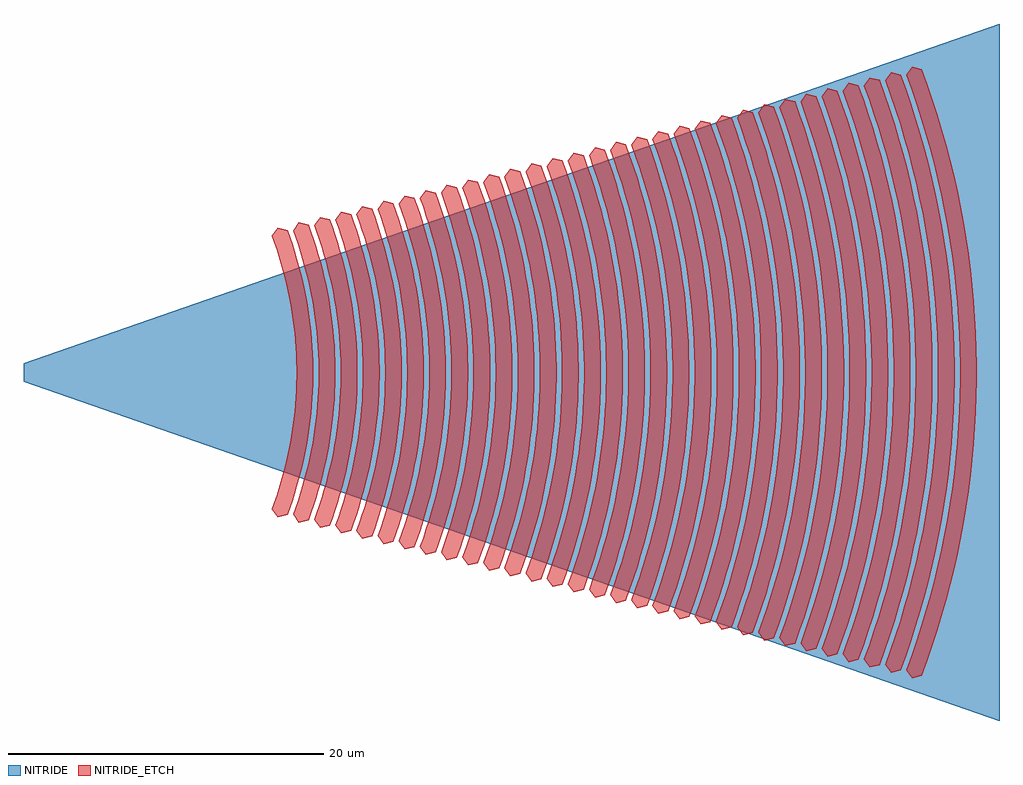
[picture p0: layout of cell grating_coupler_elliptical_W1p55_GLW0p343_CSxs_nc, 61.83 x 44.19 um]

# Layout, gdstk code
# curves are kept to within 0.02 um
import gdstk
lib = gdstk.Library(unit=1e-6, precision=1e-09)
def P(c, l, *ps):  # polygons
    for p in ps: c.add(gdstk.Polygon(p, *l))
NITRIDE = (203, 0)
NITRIDE_ETCH = (204, 0)

grating_coupler_elliptic = lib.new_cell('grating_coupler_elliptical_W1p55_GLW0p343_CSxs_nc')
P(grating_coupler_elliptic, NITRIDE, [(80.427,-22.097),(18.597,-0.6),(18.597,0.6),(80.427,22.097)])
P(grating_coupler_elliptic, NITRIDE_ETCH, [(34.709,-9.167),(34.332,-8.655),(34.635,-7.793),(35.029,-6.488),(35.441,-4.722),(35.664,-3.382),(35.772,-2.484),(35.871,-1.131),(35.896,-0.226),(35.871,1.131),(35.813,2.033),(35.664,3.382),(35.523,4.276),(35.35,5.166),(35.029,6.488),(34.635,7.793),(34.332,8.655),(34.709,9.167),(35.326,9.015),(35.784,7.674),(36.17,6.309),(36.479,4.924),(36.712,3.528),(36.902,1.65),(36.954,0.236),(36.927,-1.179),(36.824,-2.59),(36.643,-3.994),(36.281,-5.849),(35.921,-7.221),(35.326,-9.015)],
  [(36.048,-9.506),(35.671,-8.994),(35.987,-8.099),(36.396,-6.743),(36.824,-4.908),(37.056,-3.515),(37.168,-2.581),(37.271,-1.175),(37.297,-0.235),(37.271,1.175),(37.211,2.113),(37.056,3.515),(36.909,4.445),(36.627,5.829),(36.396,6.743),(35.987,8.099),(35.671,8.994),(36.048,9.506),(36.665,9.356),(37.141,7.963),(37.541,6.546),(37.862,5.11),(38.104,3.661),(38.301,1.712),(38.355,0.245),(38.327,-1.223),(38.22,-2.687),(38.032,-4.146),(37.657,-6.069),(37.283,-7.493),(36.665,-9.356)],
  [(37.388,-9.847),(37.01,-9.335),(37.488,-7.939),(37.763,-6.998),(38.207,-5.093),(38.376,-4.131),(38.564,-2.678),(38.671,-1.219),(38.698,-0.244),(38.689,0.731),(38.609,2.192),(38.51,3.164),(38.296,4.613),(38.109,5.572),(37.763,6.998),(37.488,7.939),(37.01,9.335),(37.388,9.847),(38.006,9.695),(38.498,8.253),(38.912,6.783),(39.245,5.295),(39.495,3.793),(39.663,2.28),(39.756,0.254),(39.727,-1.267),(39.616,-2.786),(39.422,-4.295),(39.032,-6.289),(38.498,-8.253),(38.006,-9.695)],
  [(38.728,-10.187),(38.35,-9.676),(38.845,-8.228),(39.13,-7.253),(39.59,-5.279),(39.765,-4.282),(39.96,-2.777),(40.071,-1.264),(40.099,-0.253),(40.071,1.264),(40.006,2.272),(39.904,3.279),(39.682,4.781),(39.378,6.27),(39.13,7.253),(38.845,8.228),(38.35,9.676),(38.728,10.187),(39.346,10.034),(39.855,8.542),(40.284,7.022),(40.628,5.481),(40.887,3.925),(41.099,1.836),(41.157,0.263),(41.127,-1.312),(41.012,-2.883),(40.811,-4.446),(40.408,-6.51),(39.855,-8.542),(39.346,-10.034)],
  [(40.067,-10.525),(39.69,-10.013),(40.041,-9.017),(40.497,-7.508),(40.973,-5.464),(41.231,-3.914),(41.356,-2.873),(41.471,-1.308),(41.5,-0.262),(41.471,1.308),(41.404,2.352),(41.231,3.914),(41.068,4.949),(40.868,5.978),(40.497,7.508),(40.041,9.017),(39.69,10.013),(40.067,10.525),(40.684,10.375),(41.212,8.831),(41.655,7.258),(42.011,5.666),(42.279,4.058),(42.498,1.898),(42.558,0.272),(42.527,-1.356),(42.408,-2.981),(42.2,-4.596),(41.783,-6.73),(41.517,-7.786),(41.212,-8.831),(40.684,-10.375)],
  [(41.407,-10.866),(41.03,-10.354),(41.559,-8.806),(41.863,-7.762),(42.129,-6.71),(42.455,-5.117),(42.693,-3.509),(42.802,-2.432),(42.901,-0.27),(42.891,0.811),(42.802,2.432),(42.693,3.509),(42.455,5.117),(42.129,6.71),(41.863,7.762),(41.559,8.806),(41.03,10.354),(41.407,10.866),(42.024,10.714),(42.569,9.12),(43.159,6.95),(43.497,5.301),(43.743,3.635),(43.897,1.961),(43.959,0.28),(43.949,-0.841),(43.897,-1.961),(43.743,-3.635),(43.497,-5.301),(43.159,-6.95),(42.569,-9.12),(42.024,-10.714)],
  [(42.746,-11.205),(42.369,-10.693),(42.744,-9.629),(43.078,-8.558),(43.505,-6.931),(43.739,-5.836),(44.015,-4.179),(44.148,-3.069),(44.271,-1.397),(44.302,-0.279),(44.271,1.397),(44.199,2.512),(44.087,3.625),(43.841,5.285),(43.505,6.931),(43.229,8.017),(42.916,9.094),(42.369,10.693),(42.746,11.205),(43.363,11.055),(43.748,9.963),(44.094,8.854),(44.535,7.171),(44.883,5.469),(45.137,3.751),(45.296,2.023),(45.36,0.289),(45.349,-0.868),(45.296,-2.023),(45.137,-3.751),(44.883,-5.469),(44.535,-7.171),(44.094,-8.854),(43.748,-9.963),(43.363,-11.055)],
  [(44.086,-11.546),(43.709,-11.034),(44.095,-9.936),(44.44,-8.83),(44.88,-7.151),(45.122,-6.021),(45.407,-4.312),(45.544,-3.167),(45.671,-1.441),(45.703,-0.288),(45.671,1.441),(45.597,2.592),(45.481,3.74),(45.227,5.453),(44.88,7.151),(44.596,8.273),(44.273,9.383),(43.709,11.034),(44.086,11.546),(44.703,11.394),(45.099,10.268),(45.456,9.126),(45.91,7.391),(46.269,5.637),(46.531,3.866),(46.695,2.085),(46.761,0.298),(46.75,-0.894),(46.695,-2.085),(46.531,-3.866),(46.269,-5.637),(45.91,-7.391),(45.456,-9.126),(45.099,-10.268),(44.703,-11.394)],
  [(45.425,-11.886),(45.048,-11.374),(45.447,-10.242),(45.964,-8.527),(46.386,-6.79),(46.614,-5.621),(46.875,-3.855),(46.995,-2.672),(47.071,-1.485),(47.104,-0.297),(47.093,0.891),(46.995,2.672),(46.875,3.855),(46.614,5.621),(46.386,6.79),(45.964,8.527),(45.447,10.242),(45.048,11.374),(45.425,11.886),(46.042,11.734),(46.451,10.574),(46.818,9.398),(47.286,7.611),(47.656,5.805),(47.925,3.981),(48.094,2.147),(48.162,0.307),(48.151,-0.921),(48.094,-2.147),(47.925,-3.981),(47.656,-5.805),(47.286,-7.611),(46.818,-9.398),(46.451,-10.574),(46.042,-11.734)],
  [(46.765,-12.226),(46.388,-11.714),(46.798,-10.548),(47.33,-8.782),(47.631,-7.592),(48,-5.789),(48.19,-4.578),(48.336,-3.362),(48.471,-1.53),(48.505,-0.306),(48.471,1.53),(48.392,2.751),(48.269,3.97),(48,5.789),(47.631,7.592),(47.33,8.782),(46.798,10.548),(46.388,11.714),(46.765,12.226),(47.382,12.074),(47.802,10.88),(48.18,9.67),(48.661,7.832),(49.042,5.973),(49.319,4.096),(49.493,2.209),(49.563,0.316),(49.527,-1.578),(49.388,-3.468),(49.146,-5.348),(48.799,-7.214),(48.512,-8.447),(48.18,-9.67),(47.802,-10.88),(47.382,-12.074)],
  [(48.103,-12.564),(47.727,-12.052),(48.15,-10.854),(48.698,-9.037),(49.007,-7.812),(49.271,-6.578),(49.582,-4.711),(49.732,-3.46),(49.871,-1.575),(49.906,-0.315),(49.871,1.575),(49.79,2.831),(49.663,4.086),(49.386,5.957),(49.145,7.195),(48.698,9.037),(48.15,10.854),(47.727,12.052),(48.103,12.564),(48.721,12.414),(49.154,11.186),(49.542,9.942),(50.037,8.052),(50.428,6.141),(50.713,4.212),(50.892,2.271),(50.964,0.325),(50.927,-1.623),(50.784,-3.566),(50.535,-5.499),(50.179,-7.417),(49.884,-8.684),(49.542,-9.942),(49.154,-11.186),(48.721,-12.414)],
  [(49.444,-12.905),(49.067,-12.393),(49.501,-11.159),(50.064,-9.292),(50.383,-8.032),(50.773,-6.125),(50.974,-4.844),(51.129,-3.557),(51.271,-1.619),(51.306,-0.324),(51.271,1.619),(51.188,2.912),(50.974,4.844),(50.773,6.125),(50.383,8.032),(50.064,9.292),(49.501,11.159),(49.067,12.393),(49.444,12.905),(50.061,12.753),(50.505,11.493),(50.904,10.214),(51.413,8.272),(51.815,6.309),(52.107,4.327),(52.291,2.333),(52.364,0.334),(52.327,-1.667),(52.181,-3.663),(51.925,-5.649),(51.558,-7.619),(51.255,-8.923),(50.904,-10.214),(50.505,-11.493),(50.061,-12.753)],
  [(50.784,-13.245),(50.407,-12.733),(50.852,-11.467),(51.432,-9.547),(51.758,-8.253),(52.038,-6.949),(52.366,-4.977),(52.525,-3.654),(52.671,-1.663),(52.707,-0.333),(52.671,1.663),(52.586,2.992),(52.366,4.977),(52.159,6.293),(51.904,7.601),(51.432,9.547),(50.852,11.467),(50.407,12.733),(50.784,13.245),(51.401,13.093),(51.856,11.799),(52.266,10.486),(52.788,8.493),(53.201,6.477),(53.501,4.442),(53.69,2.396),(53.765,0.343),(53.727,-1.711),(53.577,-3.762),(53.314,-5.8),(52.938,-7.823),(52.627,-9.16),(52.266,-10.486),(51.856,-11.799),(51.401,-13.093)],
  [(52.123,-13.584),(51.746,-13.072),(52.204,-11.773),(52.799,-9.802),(53.134,-8.473),(53.421,-7.134),(53.758,-5.109),(53.921,-3.752),(54.071,-1.708),(54.108,-0.341),(54.071,1.708),(53.983,3.071),(53.846,4.431),(53.545,6.462),(53.134,8.473),(52.799,9.802),(52.204,11.773),(51.746,13.072),(52.123,13.584),(52.74,13.434),(53.208,12.105),(53.628,10.758),(54.164,8.713),(54.587,6.644),(54.896,4.557),(55.089,2.458),(55.166,0.351),(55.127,-1.756),(54.973,-3.858),(54.703,-5.95),(54.317,-8.026),(53.998,-9.397),(53.628,-10.758),(53.208,-12.105),(52.74,-13.434)],
  [(53.463,-13.925),(53.086,-13.413),(53.555,-12.078),(53.974,-10.734),(54.51,-8.693),(54.804,-7.32),(55.149,-5.242),(55.317,-3.85),(55.471,-1.752),(55.509,-0.35),(55.471,1.752),(55.381,3.151),(55.24,4.547),(54.931,6.63),(54.51,8.693),(54.165,10.056),(53.771,11.408),(53.086,13.413),(53.463,13.925),(54.08,13.773),(54.559,12.412),(54.99,11.03),(55.54,8.933),(55.973,6.812),(56.29,4.673),(56.488,2.52),(56.567,0.36),(56.527,-1.8),(56.369,-3.956),(56.092,-6.101),(55.697,-8.229),(55.369,-9.636),(54.99,-11.03),(54.559,-12.412),(54.08,-13.773)],
  [(54.802,-14.263),(54.425,-13.751),(54.907,-12.384),(55.336,-11.006),(55.715,-9.614),(56.187,-7.504),(56.436,-6.087),(56.713,-3.947),(56.871,-1.797),(56.91,-0.359),(56.897,1.078),(56.831,2.514),(56.713,3.947),(56.541,5.375),(56.187,7.504),(55.715,9.614),(55.128,11.697),(54.425,13.751),(54.802,14.263),(55.419,14.113),(55.911,12.718),(56.352,11.302),(56.915,9.154),(57.36,6.981),(57.684,4.788),(57.887,2.582),(57.968,0.369),(57.927,-1.845),(57.765,-4.053),(57.482,-6.251),(57.076,-8.432),(56.741,-9.874),(56.352,-11.302),(55.911,-12.718),(55.419,-14.113)],
  [(56.142,-14.604),(55.765,-14.092),(56.485,-11.986),(56.899,-10.566),(57.261,-9.134),(57.57,-7.691),(57.933,-5.508),(58.109,-4.045),(58.271,-1.841),(58.311,-0.368),(58.298,1.104),(58.23,2.576),(58.109,4.045),(57.933,5.508),(57.57,7.691),(57.086,9.851),(56.485,11.986),(55.765,14.092),(56.142,14.604),(56.759,14.452),(57.495,12.3),(57.919,10.844),(58.291,9.374),(58.746,7.149),(59.078,4.903),(59.286,2.644),(59.369,0.378),(59.327,-1.889),(59.161,-4.151),(58.871,-6.402),(58.456,-8.635),(58.112,-10.111),(57.714,-11.574),(57.262,-13.024),(56.759,-14.452)],
  [(57.481,-14.944),(57.104,-14.432),(57.61,-12.996),(58.266,-10.821),(58.636,-9.354),(58.953,-7.876),(59.325,-5.641),(59.505,-4.143),(59.671,-1.885),(59.712,-0.377),(59.698,1.131),(59.629,2.638),(59.505,4.143),(59.325,5.641),(58.953,7.876),(58.458,10.09),(57.842,12.275),(57.104,14.432),(57.481,14.944),(58.098,14.792),(58.852,12.589),(59.286,11.099),(59.666,9.594),(60.132,7.317),(60.472,5.018),(60.685,2.706),(60.77,0.387),(60.727,-1.933),(60.557,-4.249),(60.26,-6.552),(59.835,-8.838),(59.484,-10.348),(59.076,-11.846),(58.614,-13.33),(58.098,-14.792)],
  [(58.821,-15.284),(58.444,-14.772),(58.961,-13.303),(59.633,-11.076),(60.012,-9.575),(60.336,-8.062),(60.717,-5.774),(60.901,-4.24),(61.071,-1.93),(61.113,-0.386),(61.099,1.158),(61.028,2.7),(60.901,4.24),(60.717,5.774),(60.336,8.062),(59.829,10.326),(59.198,12.565),(58.444,14.772),(58.821,15.284),(59.438,15.132),(59.965,13.635),(60.438,12.118),(61.042,9.815),(61.519,7.485),(61.866,5.134),(62.084,2.768),(62.171,0.396),(62.127,-1.978),(61.953,-4.346),(61.649,-6.703),(61.215,-9.041),(60.855,-10.586),(60.438,-12.118),(59.965,-13.635),(59.438,-15.132)],
  [(60.161,-15.624),(59.783,-15.112),(60.555,-12.854),(61,-11.331),(61.388,-9.795),(61.719,-8.247),(62.109,-5.907),(62.297,-4.338),(62.471,-1.974),(62.514,-0.395),(62.499,1.184),(62.427,2.763),(62.297,4.338),(62.109,5.907),(61.719,8.247),(61.2,10.564),(60.555,12.854),(59.783,15.112),(60.161,15.624),(60.779,15.472),(61.316,13.942),(61.8,12.39),(62.418,10.035),(62.905,7.653),(63.26,5.249),(63.483,2.831),(63.572,0.405),(63.527,-2.022),(63.349,-4.444),(63.039,-6.853),(62.594,-9.244),(62.226,-10.824),(61.8,-12.39),(61.316,-13.942),(60.779,-15.472)],
  [(61.5,-15.964),(61.123,-15.452),(61.664,-13.914),(62.367,-11.586),(62.94,-9.225),(63.382,-6.84),(63.604,-5.238),(63.767,-3.63),(63.871,-2.019),(63.915,-0.404),(63.9,1.211),(63.826,2.825),(63.693,4.435),(63.501,6.04),(63.102,8.433),(62.572,10.803),(61.912,13.143),(61.123,15.452),(61.5,15.964),(62.117,15.812),(62.668,14.248),(63.162,12.662),(63.598,11.061),(63.974,9.447),(64.428,7.004),(64.654,5.364),(64.882,2.893),(64.973,0.414),(64.927,-2.067),(64.745,-4.541),(64.428,-7.004),(63.974,-9.447),(63.598,-11.061),(63.162,-12.662),(62.668,-14.248),(62.117,-15.812)],
  [(62.84,-16.303),(62.463,-15.791),(63.015,-14.222),(63.734,-11.841),(64.319,-9.428),(64.771,-6.99),(64.998,-5.353),(65.165,-3.71),(65.271,-2.063),(65.316,-0.413),(65.271,2.063),(65.165,3.71),(64.998,5.353),(64.771,6.99),(64.319,9.428),(63.734,11.841),(63.015,14.222),(62.463,15.791),(62.84,16.303),(63.457,16.151),(64.019,14.554),(64.524,12.934),(64.969,11.298),(65.353,9.65),(65.817,7.154),(66.141,4.64),(66.281,2.955),(66.374,0.423),(66.327,-2.111),(66.141,-4.64),(65.817,-7.154),(65.353,-9.65),(64.969,-11.298),(64.524,-12.934),(64.019,-14.554),(63.457,-16.151)],
  [(64.179,-16.643),(63.802,-16.131),(64.367,-14.527),(65.101,-12.096),(65.699,-9.631),(66.16,-7.141),(66.393,-5.469),(66.563,-3.79),(66.671,-2.107),(66.717,-0.421),(66.671,2.107),(66.563,3.79),(66.393,5.469),(66.16,7.141),(65.699,9.631),(65.101,12.096),(64.367,14.527),(63.802,16.131),(64.179,16.643),(64.796,16.491),(65.371,14.861),(65.886,13.206),(66.341,11.536),(66.733,9.853),(67.064,8.157),(67.443,5.595),(67.68,3.017),(67.775,0.431),(67.727,-2.155),(67.537,-4.736),(67.206,-7.305),(66.733,-9.853),(66.341,-11.536),(65.886,-13.206),(65.371,-14.861),(64.796,-16.491)],
  [(65.519,-16.983),(65.142,-16.471),(65.983,-14.01),(66.467,-12.35),(67.078,-9.834),(67.55,-7.291),(67.787,-5.584),(67.96,-3.87),(68.071,-2.152),(68.118,-0.43),(68.071,2.152),(67.96,3.87),(67.787,5.584),(67.55,7.291),(67.078,9.834),(66.467,12.35),(65.983,14.01),(65.142,16.471),(65.519,16.983),(66.136,16.831),(66.722,15.167),(67.248,13.478),(67.712,11.775),(68.112,10.056),(68.596,7.455),(68.837,5.71),(69.079,3.079),(69.176,0.44),(69.127,-2.2),(68.933,-4.834),(68.596,-7.455),(68.112,-10.056),(67.712,-11.775),(67.248,-13.478),(66.722,-15.167),(66.136,-16.831)],
  [(66.858,-17.322),(66.481,-16.81),(67.07,-15.14),(67.834,-12.605),(68.458,-10.037),(68.939,-7.441),(69.181,-5.699),(69.358,-3.95),(69.471,-2.196),(69.519,-0.439),(69.471,2.196),(69.358,3.95),(69.181,5.699),(68.939,7.441),(68.458,10.037),(67.834,12.605),(67.07,15.14),(66.481,16.81),(66.858,17.322),(67.475,17.172),(68.074,15.472),(68.61,13.75),(69.083,12.012),(69.492,10.259),(69.837,8.493),(70.231,5.825),(70.478,3.141),(70.577,0.449),(70.527,-2.244),(70.329,-4.932),(69.985,-7.605),(69.492,-10.259),(69.083,-12.012),(68.61,-13.75),(68.074,-15.472),(67.475,-17.172)],
  [(68.198,-17.663),(67.821,-17.151),(68.697,-14.589),(69.201,-12.86),(69.837,-10.24),(70.328,-7.592),(70.575,-5.814),(70.756,-4.03),(70.871,-2.241),(70.92,-0.448),(70.871,2.241),(70.756,4.03),(70.575,5.814),(70.328,7.592),(69.837,10.24),(69.201,12.86),(68.697,14.589),(67.821,17.151),(68.198,17.663),(68.815,17.511),(69.425,15.779),(69.972,14.022),(70.455,12.25),(70.871,10.462),(71.374,7.756),(71.726,5.029),(71.877,3.204),(71.978,0.458),(71.927,-2.289),(71.726,-5.029),(71.374,-7.756),(70.871,-10.462),(70.455,-12.25),(69.972,-14.022),(69.425,-15.779),(68.815,-17.511)],
  [(69.538,-18.002),(69.161,-17.49),(70.054,-14.877),(70.8,-12.228),(71.217,-10.443),(71.717,-7.742),(71.969,-5.93),(72.153,-4.109),(72.271,-2.285),(72.321,-0.457),(72.271,2.285),(72.153,4.109),(71.969,5.93),(71.717,7.742),(71.217,10.443),(70.8,12.228),(70.054,14.877),(69.161,17.49),(69.538,18.002),(70.155,17.85),(70.776,16.085),(71.335,14.295),(71.826,12.488),(72.251,10.665),(72.763,7.906),(73.122,5.127),(73.276,3.266),(73.379,0.467),(73.327,-2.333),(73.122,-5.127),(72.763,-7.906),(72.251,-10.665),(71.826,-12.488),(71.335,-14.295),(70.776,-16.085),(70.155,-17.85)],
  [(70.877,-18.342),(70.5,-17.83),(71.124,-16.058),(71.935,-13.37),(72.596,-10.646),(73.107,-7.893),(73.363,-6.045),(73.551,-4.189),(73.671,-2.329),(73.722,-0.466),(73.671,2.329),(73.551,4.189),(73.363,6.045),(73.107,7.893),(72.596,10.646),(71.935,13.37),(71.124,16.058),(70.5,17.83),(70.877,18.342),(71.494,18.19),(72.128,16.39),(72.697,14.567),(73.198,12.724),(73.63,10.868),(74.153,8.057),(74.518,5.224),(74.675,3.328),(74.78,0.476),(74.727,-2.377),(74.518,-5.224),(74.153,-8.057),(73.63,-10.868),(73.198,-12.724),(72.697,-14.567),(72.128,-16.39),(71.494,-18.19)],
  [(72.217,-18.682),(71.84,-18.17),(72.767,-15.455),(73.543,-12.704),(74.167,-9.917),(74.496,-8.043),(74.757,-6.16),(74.949,-4.269),(75.071,-2.374),(75.123,-0.475),(75.071,2.374),(74.949,4.269),(74.757,6.16),(74.496,8.043),(74.167,9.917),(73.543,12.704),(72.767,15.455),(71.84,18.17),(72.217,18.682),(72.834,18.53),(73.479,16.697),(74.059,14.839),(74.569,12.962),(75.01,11.071),(75.542,8.207),(75.914,5.322),(76.074,3.39),(76.181,0.485),(76.127,-2.422),(75.914,-5.322),(75.542,-8.207),(75.01,-11.071),(74.569,-12.962),(74.059,-14.839),(73.479,-16.697),(72.834,-18.53)],
  [(73.556,-19.022),(73.179,-18.51),(73.827,-16.671),(74.668,-13.88),(75.355,-11.052),(75.885,-8.194),(76.151,-6.275),(76.346,-4.349),(76.471,-2.418),(76.524,-0.484),(76.471,2.418),(76.346,4.349),(76.151,6.275),(75.885,8.194),(75.355,11.052),(74.668,13.88),(73.827,16.671),(73.179,18.51),(73.556,19.022),(74.173,18.87),(74.831,17.003),(75.421,15.111),(75.94,13.201),(76.389,11.274),(76.931,8.358),(77.31,5.419),(77.473,3.452),(77.582,0.494),(77.527,-2.466),(77.31,-5.419),(76.931,-8.358),(76.389,-11.274),(75.94,-13.201),(75.421,-15.111),(74.831,-17.003),(74.173,-18.87)],
  [(74.896,-19.362),(74.519,-18.85),(75.178,-16.977),(76.036,-14.135),(76.735,-11.255),(77.274,-8.344),(77.545,-6.39),(77.744,-4.429),(77.871,-2.463),(77.925,-0.492),(77.871,2.463),(77.744,4.429),(77.545,6.39),(77.274,8.344),(76.735,11.255),(76.036,14.135),(75.178,16.977),(74.519,18.85),(74.896,19.362),(75.513,19.21),(76.182,17.309),(76.783,15.383),(77.312,13.437),(77.769,11.477),(78.32,8.508),(78.706,5.517),(78.872,3.514),(78.983,0.502),(78.927,-2.511),(78.706,-5.517),(78.32,-8.508),(77.769,-11.477),(77.312,-13.437),(76.783,-15.383),(76.182,-17.309),(75.513,-19.21)])

lib.write_gds('grating_coupler_elliptical_W1p55_GLW0p343_CSxs_nc.gds')
